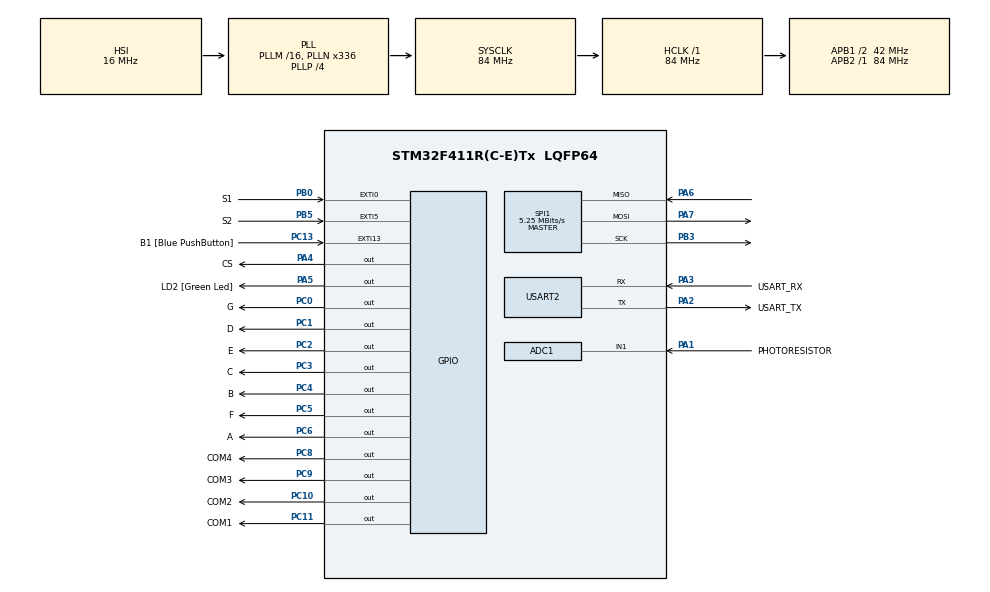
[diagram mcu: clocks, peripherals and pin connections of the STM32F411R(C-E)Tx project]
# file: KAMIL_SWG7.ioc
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ADC1.Channel-1\#ChannelRegularConversion=ADC_CHANNEL_1
ADC1.Channel-2\#ChannelRegularConversion=ADC_CHANNEL_TEMPSENSOR
ADC1.ClockPrescaler=ADC_CLOCK_SYNC_PCLK_DIV8
ADC1.ContinuousConvMode=DISABLE
ADC1.DMAContinuousRequests=ENABLE
ADC1.ExternalTrigConv=ADC_EXTERNALTRIGCONV_T2_TRGO
ADC1.NbrOfConversion=2
ADC1.NbrOfConversionFlag=1
ADC1.Rank-1\#ChannelRegularConversion=1
ADC1.Rank-2\#ChannelRegularConversion=2
ADC1.SamplingTime-1\#ChannelRegularConversion=ADC_SAMPLETIME_480CYCLES
ADC1.SamplingTime-2\#ChannelRegularConversion=ADC_SAMPLETIME_480CYCLES
ADC1.ScanConvMode=ENABLE
ADC1.master=1
Dma.ADC1.2.Direction=DMA_PERIPH_TO_MEMORY
Dma.ADC1.2.FIFOMode=DMA_FIFOMODE_DISABLE
Dma.ADC1.2.Instance=DMA2_Stream0
Dma.ADC1.2.MemDataAlignment=DMA_MDATAALIGN_HALFWORD
Dma.ADC1.2.MemInc=DMA_MINC_ENABLE
Dma.ADC1.2.Mode=DMA_CIRCULAR
Dma.ADC1.2.PeriphDataAlignment=DMA_PDATAALIGN_HALFWORD
Dma.ADC1.2.PeriphInc=DMA_PINC_DISABLE
Dma.ADC1.2.Priority=DMA_PRIORITY_LOW
Dma.Request0=USART2_TX
Dma.Request1=USART2_RX
Dma.Request2=ADC1
Dma.USART2_RX.1.Direction=DMA_PERIPH_TO_MEMORY
Dma.USART2_RX.1.FIFOMode=DMA_FIFOMODE_DISABLE
Dma.USART2_RX.1.Instance=DMA1_Stream5
Dma.USART2_RX.1.MemDataAlignment=DMA_MDATAALIGN_BYTE
Dma.USART2_RX.1.MemInc=DMA_MINC_ENABLE
Dma.USART2_RX.1.Mode=DMA_NORMAL
Dma.USART2_RX.1.PeriphDataAlignment=DMA_PDATAALIGN_BYTE
Dma.USART2_RX.1.PeriphInc=DMA_PINC_DISABLE
Dma.USART2_RX.1.Priority=DMA_PRIORITY_LOW
Dma.USART2_TX.0.Direction=DMA_MEMORY_TO_PERIPH
Dma.USART2_TX.0.FIFOMode=DMA_FIFOMODE_DISABLE
Dma.USART2_TX.0.Instance=DMA1_Stream6
Dma.USART2_TX.0.MemDataAlignment=DMA_MDATAALIGN_BYTE
Dma.USART2_TX.0.MemInc=DMA_MINC_ENABLE
Dma.USART2_TX.0.Mode=DMA_NORMAL
Dma.USART2_TX.0.PeriphDataAlignment=DMA_PDATAALIGN_BYTE
Dma.USART2_TX.0.PeriphInc=DMA_PINC_DISABLE
Dma.USART2_TX.0.Priority=DMA_PRIORITY_LOW
Mcu.Family=STM32F4
Mcu.Name=STM32F411R(C-E)Tx
Mcu.Package=LQFP64
NVIC.DMA1_Stream5_IRQn=true\:0\:0\:false\:false\:true\:false\:true\:true
NVIC.DMA1_Stream6_IRQn=true\:0\:0\:false\:false\:true\:false\:true\:true
NVIC.DMA2_Stream0_IRQn=true\:0\:0\:false\:false\:true\:false\:true\:true
NVIC.EXTI0_IRQn=true\:0\:0\:false\:false\:true\:true\:true\:true
NVIC.EXTI9_5_IRQn=true\:0\:0\:false\:false\:true\:true\:true\:true
NVIC.PriorityGroup=NVIC_PRIORITYGROUP_0
NVIC.TIM1_TRG_COM_TIM11_IRQn=true\:0\:0\:false\:false\:true\:true\:true\:true
NVIC.TIM1_UP_TIM10_IRQn=true\:0\:0\:false\:false\:true\:true\:true\:true
NVIC.USART2_IRQn=true\:0\:0\:false\:false\:true\:true\:true\:true
PA1.GPIO_Label=PHOTORESISTOR
PA1.Signal=ADCx_IN1
PA13.GPIO_Label=TMS
PA13.Mode=Serial_Wire
PA13.Signal=SYS_JTMS-SWDIO
PA14.GPIO_Label=TCK
PA14.Mode=Serial_Wire
PA14.Signal=SYS_JTCK-SWCLK
PA2.GPIO_Label=USART_TX
PA2.Mode=Asynchronous
PA2.Signal=USART2_TX
PA3.GPIO_Label=USART_RX
PA3.Mode=Asynchronous
PA3.Signal=USART2_RX
PA4.GPIO_Label=CS
PA4.Signal=GPIO_Output
PA5.GPIO_Label=LD2 [Green Led]
PA5.Signal=GPIO_Output
PA6.Mode=Full_Duplex_Master
PA6.Signal=SPI1_MISO
PA7.Mode=Full_Duplex_Master
PA7.Signal=SPI1_MOSI
PB0.GPIO_Label=S1
PB0.GPIO_ModeDefaultEXTI=GPIO_MODE_IT_FALLING
PB0.GPIO_PuPd=GPIO_PULLUP
PB0.Signal=GPXTI0
PB3.Mode=Full_Duplex_Master
PB3.Signal=SPI1_SCK
PB5.GPIO_Label=S2
PB5.GPIO_ModeDefaultEXTI=GPIO_MODE_IT_FALLING
PB5.GPIO_PuPd=GPIO_PULLUP
PB5.Signal=GPXTI5
PC0.GPIO_Label=G
PC0.Signal=GPIO_Output
PC1.GPIO_Label=D
PC1.Signal=GPIO_Output
PC10.GPIO_Label=COM2
PC10.Signal=GPIO_Output
PC11.GPIO_Label=COM1
PC11.Signal=GPIO_Output
PC13-ANTI_TAMP.GPIO_Label=B1 [Blue PushButton]
PC13-ANTI_TAMP.GPIO_ModeDefaultEXTI=GPIO_MODE_IT_FALLING
PC13-ANTI_TAMP.Signal=GPXTI13
PC14-OSC32_IN.Mode=LSE-External-Oscillator
PC14-OSC32_IN.Signal=RCC_OSC32_IN
PC15-OSC32_OUT.Mode=LSE-External-Oscillator
PC15-OSC32_OUT.Signal=RCC_OSC32_OUT
PC2.GPIO_Label=E
PC2.Signal=GPIO_Output
PC3.GPIO_Label=C
PC3.Signal=GPIO_Output
PC4.GPIO_Label=B
PC4.Signal=GPIO_Output
PC5.GPIO_Label=F
PC5.Signal=GPIO_Output
PC6.GPIO_Label=A
PC6.Signal=GPIO_Output
PC8.GPIO_Label=COM4
PC8.Signal=GPIO_Output
PC9.GPIO_Label=COM3
PC9.Signal=GPIO_Output
PH0\ -\ OSC_IN.Mode=HSE-External-Clock-Source
PH0\ -\ OSC_IN.Signal=RCC_OSC_IN
PH1\ -\ OSC_OUT.Mode=HSE-External-Clock-Source
PH1\ -\ OSC_OUT.Signal=RCC_OSC_OUT
ProjectManager.HeapSize=0x200
ProjectManager.StackSize=0x400
ProjectManager.TargetToolchain=STM32CubeIDE
RCC.48MHZClocksFreq_Value=84000000
RCC.AHBFreq_Value=84000000
RCC.APB1CLKDivider=RCC_HCLK_DIV2
RCC.APB1Freq_Value=42000000
RCC.APB1TimFreq_Value=84000000
RCC.APB2Freq_Value=84000000
RCC.APB2TimFreq_Value=84000000
RCC.CortexFreq_Value=84000000
RCC.FLatency-AdvancedSettings=FLASH_LATENCY_2
RCC.HCLKFreq_Value=84000000
RCC.HSE_VALUE=8000000
RCC.HSI_VALUE=16000000
RCC.PLLN=336
RCC.PLLP=RCC_PLLP_DIV4
RCC.SYSCLKFreq_VALUE=84000000
RCC.SYSCLKSource=RCC_SYSCLKSOURCE_PLLCLK
RCC.VCOOutputFreq_Value=336000000
SH.ADCx_IN1.0=ADC1_IN1,IN1
SPI1.BaudRatePrescaler=SPI_BAUDRATEPRESCALER_16
SPI1.CLKPhase=SPI_PHASE_2EDGE
SPI1.CLKPolarity=SPI_POLARITY_HIGH
SPI1.CalculateBaudRate=5.25 MBits/s
SPI1.Direction=SPI_DIRECTION_2LINES
SPI1.Mode=SPI_MODE_MASTER
SPI1.VirtualType=VM_MASTER
TIM10.Period=1000-1
TIM10.Prescaler=8400-1
TIM11.Period=999
TIM11.Prescaler=200
TIM2.Period=999
TIM2.Prescaler=8399
TIM2.TIM_MasterOutputTrigger=TIM_TRGO_UPDATE
USART2.VirtualMode=VM_ASYNC
VP_ADC1_TempSens_Input.Mode=IN-TempSens
VP_TIM10_VS_ClockSourceINT.Mode=Enable_Timer
VP_TIM11_VS_ClockSourceINT.Mode=Enable_Timer
VP_TIM2_VS_ClockSourceINT.Mode=Internal
board=NUCLEO-F411RE

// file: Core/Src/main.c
/* USER CODE BEGIN Header */
/**
  ******************************************************************************
  * @file           : main.c
  * @brief          : Main program body
  ******************************************************************************
  * @attention
  *
  * Copyright (c) 2023 STMicroelectronics.
  * All rights reserved.
  *
  * This software is licensed under terms that can be found in the LICENSE file
  * in the root directory of this software component.
  * If no LICENSE file comes with this software, it is provided AS-IS.
  *
  ******************************************************************************
  */
/* USER CODE END Header */
#include "main.h"

ADC_HandleTypeDef hadc1;
DMA_HandleTypeDef hdma_adc1;

SPI_HandleTypeDef hspi1;

TIM_HandleTypeDef htim2;
TIM_HandleTypeDef htim10;
TIM_HandleTypeDef htim11;

UART_HandleTypeDef huart2;
DMA_HandleTypeDef hdma_usart2_tx;
DMA_HandleTypeDef hdma_usart2_rx;

/* USER CODE BEGIN PV */
volatile uint8_t NrDisp;
volatile uint16_t Number = 0;
volatile uint8_t unit_number;
volatile uint8_t decimal_number;
volatile uint8_t hundreds_number;
volatile uint8_t thousandths_number;
volatile uint32_t t1_S1 = 0;
volatile uint32_t t2_S1 = 0;
volatile uint32_t t1_S2 = 0;
volatile uint32_t t2_S2 = 0;
const uint32_t delay = 200;
volatile uint16_t TX_size;
volatile uint8_t buffor_tx[100];
volatile uint8_t buffor_rx[10];
volatile uint8_t flag_start = 0;
volatile uint16_t ADC_value[2];
volatile uint8_t flag_end_adc = 1;
volatile uint8_t flag_end_transmit = 1;

//-----zmiennne do obłsługi akcelerometru SPI:-------//
volatile uint8_t SPI_Rxbuff[2];
volatile uint8_t SPI_Txbuff[2];
const uint8_t address_X = 0x29;
const uint8_t address_Y = 0x2B;
const uint8_t address_Z = 0x2D;
volatile uint8_t mask = 0x80;
volatile uint8_t X_value;
volatile uint8_t Y_value;
volatile uint8_t Z_value;
//---------------------------------------------------//

/* USER CODE END PV */

void SystemClock_Config(void);
static void MX_GPIO_Init(void);
static void MX_DMA_Init(void);
static void MX_USART2_UART_Init(void);
static void MX_TIM11_Init(void);
static void MX_ADC1_Init(void);
static void MX_TIM10_Init(void);
static void MX_TIM2_Init(void);
static void MX_SPI1_Init(void);
/* USER CODE BEGIN PFP */
void HAL_ADC_ConvCpltCallback(ADC_HandleTypeDef* hadc);
void HAL_GPIO_EXTI_Callback(uint16_t GPIO_Pin);
void HAL_TIM_PeriodElapsedCallback(TIM_HandleTypeDef *htim);
void count_number();
void SetDisp(uint8_t number);
void DispSeg7(uint8_t mask);
void SetSeg7(uint8_t number);
void Akcelerometr_SPI();
void Akcelerometr_SPI_init();

/* USER CODE END PFP */

/* USER CODE BEGIN 0 */

// Funkcja inicjująca akcelerometr z wykorzystanime tranmisji interfejsem SPI
void Akcelerometr_SPI_init(){
	SPI_Txbuff[0] = 0x20;
	SPI_Txbuff[1] = 0x47;

	HAL_GPIO_WritePin(CS_GPIO_Port, CS_Pin, GPIO_PIN_RESET);
	HAL_SPI_Transmit(&hspi1, SPI_Txbuff, 2, 100);
	HAL_GPIO_WritePin(CS_GPIO_Port, CS_Pin, GPIO_PIN_SET);

}

void Akcelerometr_SPI(){
	// Obsługa SPI - odczyt

	  // OS-X
	  SPI_Rxbuff[0] = address_X | mask;
	  HAL_GPIO_WritePin(CS_GPIO_Port, CS_Pin, GPIO_PIN_RESET);
	  HAL_SPI_Receive(&hspi1, SPI_Rxbuff, 2, 1000);
	  HAL_GPIO_WritePin(CS_GPIO_Port, CS_Pin, GPIO_PIN_SET);
	  X_value = SPI_Rxbuff[1];

	  // OS-Y
	  SPI_Rxbuff[0] = address_Y | mask;
	  HAL_GPIO_WritePin(CS_GPIO_Port, CS_Pin, GPIO_PIN_RESET);
	  HAL_SPI_Receive(&hspi1, SPI_Rxbuff, 2, 1000);
	  HAL_GPIO_WritePin(CS_GPIO_Port, CS_Pin, GPIO_PIN_SET);
	  Y_value = SPI_Rxbuff[1];

	  // OS-Z
	  SPI_Rxbuff[0] = address_Z | mask;
	  HAL_GPIO_WritePin(CS_GPIO_Port, CS_Pin, GPIO_PIN_RESET);
	  HAL_SPI_Receive(&hspi1, SPI_Rxbuff, 2, 1000);
	  HAL_GPIO_WritePin(CS_GPIO_Port, CS_Pin, GPIO_PIN_SET);
	  Z_value = SPI_Rxbuff[1];

	  if(flag_end_transmit){
		  size_t len = sprintf(buffor_tx,"X = %d, Y = %d, Z = %d\n", X_value, Y_value, Z_value);
		  HAL_UART_Transmit_DMA(&huart2, buffor_tx, len);
	  }
}

// Funkcja odpowiedzialna za ustawienie flagi inforującej o zakończniu transmisji na porcie szeregowym
void HAL_UART_TxCpltCallback(UART_HandleTypeDef *huart){

	if (huart->Instance == USART2){
		flag_end_transmit = 1;

	}
}

// Funkcja odpowiedzialna za przerwania zewnętrzne
void HAL_GPIO_EXTI_Callback(uint16_t GPIO_Pin){

	if(GPIO_Pin == S1_Pin){
		t2_S1 = HAL_GetTick();
		if(t2_S1 - t1_S1 > delay){
			t1_S1 = t2_S1;
			if(Number == 0){
					Number = 9999;
			}else{
				Number --;
			}
			count_number();
		}

	}else if(GPIO_Pin == S2_Pin){
		t2_S2 = HAL_GetTick();
		if(t2_S2 - t1_S2 > delay){
			t1_S2 = t2_S2;
			Number ++;
			count_number();

		}

	}

}

// funkcja odpowiedzilana z obsługę przerwań związanych z timerem TIM11 oraz TIM10, który to wywołuje odczyt z akcelerometru
void HAL_TIM_PeriodElapsedCallback(TIM_HandleTypeDef *htim){
	if(htim->Instance == TIM11){
		// Switch umożliwający cykliczną zamianę jednego z 4 wyświetlaczy 7-seg
		switch(NrDisp){
		case 0:
			SetDisp(0);
			SetSeg7(thousandths_number);
			NrDisp = 1;
			break;
		case 1:
			SetDisp(1);
			SetSeg7(hundreds_number);
			NrDisp = 2;
			break;
		case 2:
			SetDisp(2);
			SetSeg7(decimal_number);
			NrDisp = 3;
			break;
		case 3:
			SetDisp(3);
			SetSeg7(unit_number);
			NrDisp = 0;
			break;
		}
	}else if(htim->Instance == TIM10){
		Akcelerometr_SPI();
	}

}

// Funkcja umożliwiająca zlicznie, oraz dekodowanie wartości Number
void count_number(){
	if(Number > 9999){
		Number = 0;
	}
	thousandths_number = Number/1000;
	hundreds_number = (Number%1000)/100;
	decimal_number = (Number%1000%100)/10;
	unit_number = (Number%1000%100%10);

}

// Funkcja umożliwiająca ustawienie odpowiedniego COM-a do wyświetlacza
// w celu wyboru jednego z 4 wyświetlaczy 7-seg
void SetDisp(uint8_t number){

	HAL_GPIO_WritePin(COM1_GPIO_Port, COM1_Pin, GPIO_PIN_SET);
	HAL_GPIO_WritePin(COM2_GPIO_Port, COM2_Pin, GPIO_PIN_SET);
	HAL_GPIO_WritePin(COM3_GPIO_Port, COM3_Pin, GPIO_PIN_SET);
	HAL_GPIO_WritePin(COM4_GPIO_Port, COM4_Pin, GPIO_PIN_SET);
	switch(number){
		case 0:
			HAL_GPIO_WritePin(COM1_GPIO_Port, COM1_Pin, GPIO_PIN_RESET);
			break;
		case 1:
			HAL_GPIO_WritePin(COM2_GPIO_Port, COM2_Pin, GPIO_PIN_RESET);
			break;
		case 2:
			HAL_GPIO_WritePin(COM3_GPIO_Port, COM3_Pin, GPIO_PIN_RESET);
			break;
		case 3:
			HAL_GPIO_WritePin(COM4_GPIO_Port, COM4_Pin, GPIO_PIN_RESET);
			break;

	}
}

// Funkcja ustawiająca odpowiedni stan na wyjściu zgodnie z maską podaną z funkcji SetSeg7
void DispSeg7(uint8_t mask){
	HAL_GPIO_WritePin(A_GPIO_Port, A_Pin, mask & 0x01);
	HAL_GPIO_WritePin(B_GPIO_Port, B_Pin, mask & 0x02);
	HAL_GPIO_WritePin(C_GPIO_Port, C_Pin, mask & 0x04);
	HAL_GPIO_WritePin(D_GPIO_Port, D_Pin, mask & 0x08);
	HAL_GPIO_WritePin(E_GPIO_Port, E_Pin, mask & 0x10);
	HAL_GPIO_WritePin(F_GPIO_Port, F_Pin, mask & 0x20);
	HAL_GPIO_WritePin(G_GPIO_Port, G_Pin, mask & 0x40);

}

// Funkcja deklarująca wyświedlanie odpowiednich segmentów dla poszczególnych liczb
void SetSeg7(uint8_t number){
	switch(number){
	case 0:
		DispSeg7(0b0111111);
		break;
	case 1:
		DispSeg7(0b0000110);
		break;
	case 2:
		DispSeg7(0b1011011);
		break;
	case 3:
		DispSeg7(0b1001111);
		break;
	case 4:
		DispSeg7(0b1100110);
		break;
	case 5:
		DispSeg7(0b1101101);
		break;
	case 6:
		DispSeg7(0b1111101);
		break;
	case 7:
		DispSeg7(0b0000111);
		break;
	case 8:
		DispSeg7(0b1111111);
		break;
	case 9:
		DispSeg7(0b1101111);
		break;
	default:
		DispSeg7(0b1111001);
		break;
	}
}

/* USER CODE END 0 */

int main(void)
{

  /* MCU Configuration--------------------------------------------------------*/

  /* Reset of all peripherals, Initializes the Flash interface and the Systick. */
  HAL_Init();

  /* Configure the system clock */
  SystemClock_Config();

  /* Initialize all configured peripherals */
  MX_GPIO_Init();
  MX_DMA_Init();
  MX_USART2_UART_Init();
  MX_TIM11_Init();
  MX_ADC1_Init();
  MX_TIM10_Init();
  MX_TIM2_Init();
  MX_SPI1_Init();
  /* USER CODE BEGIN 2 */
  HAL_TIM_Base_Start_IT(&htim11);

  HAL_TIM_Base_Start(&htim2);
  HAL_TIM_Base_Start_IT(&htim10);
  HAL_ADC_Start_DMA(&hadc1, ADC_value, 2);

  Akcelerometr_SPI_init();

  /* USER CODE END 2 */

  /* Infinite loop */
  /* USER CODE BEGIN WHILE */

  HAL_UART_Receive_DMA(&huart2,buffor_rx, 2);

  while (1)
  {

	  }

    /* USER CODE END WHILE */

  }

void SystemClock_Config(void)
{
  RCC_OscInitTypeDef RCC_OscInitStruct = {0};
  RCC_ClkInitTypeDef RCC_ClkInitStruct = {0};

  /** Configure the main internal regulator output voltage
  */
  __HAL_RCC_PWR_CLK_ENABLE();
  __HAL_PWR_VOLTAGESCALING_CONFIG(PWR_REGULATOR_VOLTAGE_SCALE1);

  /** Initializes the RCC Oscillators according to the specified parameters
  * in the RCC_OscInitTypeDef structure.
  */
  RCC_OscInitStruct.OscillatorType = RCC_OSCILLATORTYPE_HSI;
  RCC_OscInitStruct.HSIState = RCC_HSI_ON;
  RCC_OscInitStruct.HSICalibrationValue = RCC_HSICALIBRATION_DEFAULT;
  RCC_OscInitStruct.PLL.PLLState = RCC_PLL_ON;
  RCC_OscInitStruct.PLL.PLLSource = RCC_PLLSOURCE_HSI;
  RCC_OscInitStruct.PLL.PLLM = 16;
  RCC_OscInitStruct.PLL.PLLN = 336;
  RCC_OscInitStruct.PLL.PLLP = RCC_PLLP_DIV4;
  RCC_OscInitStruct.PLL.PLLQ = 4;
  if (HAL_RCC_OscConfig(&RCC_OscInitStruct) != HAL_OK)
  {
    Error_Handler();
  }

  /** Initializes the CPU, AHB and APB buses clocks
  */
  RCC_ClkInitStruct.ClockType = RCC_CLOCKTYPE_HCLK|RCC_CLOCKTYPE_SYSCLK
                              |RCC_CLOCKTYPE_PCLK1|RCC_CLOCKTYPE_PCLK2;
  RCC_ClkInitStruct.SYSCLKSource = RCC_SYSCLKSOURCE_PLLCLK;
  RCC_ClkInitStruct.AHBCLKDivider = RCC_SYSCLK_DIV1;
  RCC_ClkInitStruct.APB1CLKDivider = RCC_HCLK_DIV2;
  RCC_ClkInitStruct.APB2CLKDivider = RCC_HCLK_DIV1;

  if (HAL_RCC_ClockConfig(&RCC_ClkInitStruct, FLASH_LATENCY_2) != HAL_OK)
  {
    Error_Handler();
  }
}

static void MX_ADC1_Init(void)
{

  ADC_ChannelConfTypeDef sConfig = {0};

  /** Configure the global features of the ADC (Clock, Resolution, Data Alignment and number of conversion)
  */
  hadc1.Instance = ADC1;
  hadc1.Init.ClockPrescaler = ADC_CLOCK_SYNC_PCLK_DIV8;
  hadc1.Init.Resolution = ADC_RESOLUTION_12B;
  hadc1.Init.ScanConvMode = ENABLE;
  hadc1.Init.ContinuousConvMode = DISABLE;
  hadc1.Init.DiscontinuousConvMode = DISABLE;
  hadc1.Init.ExternalTrigConvEdge = ADC_EXTERNALTRIGCONVEDGE_RISING;
  hadc1.Init.ExternalTrigConv = ADC_EXTERNALTRIGCONV_T2_TRGO;
  hadc1.Init.DataAlign = ADC_DATAALIGN_RIGHT;
  hadc1.Init.NbrOfConversion = 2;
  hadc1.Init.DMAContinuousRequests = ENABLE;
  hadc1.Init.EOCSelection = ADC_EOC_SINGLE_CONV;
  if (HAL_ADC_Init(&hadc1) != HAL_OK)
  {
    Error_Handler();
  }

  /** Configure for the selected ADC regular channel its corresponding rank in the sequencer and its sample time.
  */
  sConfig.Channel = ADC_CHANNEL_1;
  sConfig.Rank = 1;
  sConfig.SamplingTime = ADC_SAMPLETIME_480CYCLES;
  if (HAL_ADC_ConfigChannel(&hadc1, &sConfig) != HAL_OK)
  {
    Error_Handler();
  }

  /** Configure for the selected ADC regular channel its corresponding rank in the sequencer and its sample time.
  */
  sConfig.Channel = ADC_CHANNEL_TEMPSENSOR;
  sConfig.Rank = 2;
  if (HAL_ADC_ConfigChannel(&hadc1, &sConfig) != HAL_OK)
  {
    Error_Handler();
  }

}

static void MX_SPI1_Init(void)
{

  /* SPI1 parameter configuration*/
  hspi1.Instance = SPI1;
  hspi1.Init.Mode = SPI_MODE_MASTER;
  hspi1.Init.Direction = SPI_DIRECTION_2LINES;
  hspi1.Init.DataSize = SPI_DATASIZE_8BIT;
  hspi1.Init.CLKPolarity = SPI_POLARITY_HIGH;
  hspi1.Init.CLKPhase = SPI_PHASE_2EDGE;
  hspi1.Init.NSS = SPI_NSS_SOFT;
  hspi1.Init.BaudRatePrescaler = SPI_BAUDRATEPRESCALER_16;
  hspi1.Init.FirstBit = SPI_FIRSTBIT_MSB;
  hspi1.Init.TIMode = SPI_TIMODE_DISABLE;
  hspi1.Init.CRCCalculation = SPI_CRCCALCULATION_DISABLE;
  hspi1.Init.CRCPolynomial = 10;
  if (HAL_SPI_Init(&hspi1) != HAL_OK)
  {
    Error_Handler();
  }

}

static void MX_TIM2_Init(void)
{

  TIM_ClockConfigTypeDef sClockSourceConfig = {0};
  TIM_MasterConfigTypeDef sMasterConfig = {0};

  htim2.Instance = TIM2;
  htim2.Init.Prescaler = 8399;
  htim2.Init.CounterMode = TIM_COUNTERMODE_UP;
  htim2.Init.Period = 999;
  htim2.Init.ClockDivision = TIM_CLOCKDIVISION_DIV1;
  htim2.Init.AutoReloadPreload = TIM_AUTORELOAD_PRELOAD_DISABLE;
  if (HAL_TIM_Base_Init(&htim2) != HAL_OK)
  {
    Error_Handler();
  }
  sClockSourceConfig.ClockSource = TIM_CLOCKSOURCE_INTERNAL;
  if (HAL_TIM_ConfigClockSource(&htim2, &sClockSourceConfig) != HAL_OK)
  {
    Error_Handler();
  }
  sMasterConfig.MasterOutputTrigger = TIM_TRGO_UPDATE;
  sMasterConfig.MasterSlaveMode = TIM_MASTERSLAVEMODE_DISABLE;
  if (HAL_TIMEx_MasterConfigSynchronization(&htim2, &sMasterConfig) != HAL_OK)
  {
    Error_Handler();
  }

}

static void MX_TIM10_Init(void)
{

  htim10.Instance = TIM10;
  htim10.Init.Prescaler = 8400-1;
  htim10.Init.CounterMode = TIM_COUNTERMODE_UP;
  htim10.Init.Period = 1000-1;
  htim10.Init.ClockDivision = TIM_CLOCKDIVISION_DIV1;
  htim10.Init.AutoReloadPreload = TIM_AUTORELOAD_PRELOAD_DISABLE;
  if (HAL_TIM_Base_Init(&htim10) != HAL_OK)
  {
    Error_Handler();
  }

}

static void MX_TIM11_Init(void)
{

  htim11.Instance = TIM11;
  htim11.Init.Prescaler = 200;
  htim11.Init.CounterMode = TIM_COUNTERMODE_UP;
  htim11.Init.Period = 999;
  htim11.Init.ClockDivision = TIM_CLOCKDIVISION_DIV1;
  htim11.Init.AutoReloadPreload = TIM_AUTORELOAD_PRELOAD_DISABLE;
  if (HAL_TIM_Base_Init(&htim11) != HAL_OK)
  {
    Error_Handler();
  }

}

static void MX_USART2_UART_Init(void)
{

  huart2.Instance = USART2;
  huart2.Init.BaudRate = 115200;
  huart2.Init.WordLength = UART_WORDLENGTH_8B;
  huart2.Init.StopBits = UART_STOPBITS_1;
  huart2.Init.Parity = UART_PARITY_NONE;
  huart2.Init.Mode = UART_MODE_TX_RX;
  huart2.Init.HwFlowCtl = UART_HWCONTROL_NONE;
  huart2.Init.OverSampling = UART_OVERSAMPLING_16;
  if (HAL_UART_Init(&huart2) != HAL_OK)
  {
    Error_Handler();
  }

}

static void MX_DMA_Init(void)
{

  /* DMA controller clock enable */
  __HAL_RCC_DMA1_CLK_ENABLE();
  __HAL_RCC_DMA2_CLK_ENABLE();

  /* DMA interrupt init */
  /* DMA1_Stream5_IRQn interrupt configuration */
  HAL_NVIC_SetPriority(DMA1_Stream5_IRQn, 0, 0);
  HAL_NVIC_EnableIRQ(DMA1_Stream5_IRQn);
  /* DMA1_Stream6_IRQn interrupt configuration */
  HAL_NVIC_SetPriority(DMA1_Stream6_IRQn, 0, 0);
  HAL_NVIC_EnableIRQ(DMA1_Stream6_IRQn);
  /* DMA2_Stream0_IRQn interrupt configuration */
  HAL_NVIC_SetPriority(DMA2_Stream0_IRQn, 0, 0);
  HAL_NVIC_EnableIRQ(DMA2_Stream0_IRQn);

}

static void MX_GPIO_Init(void)
{
  GPIO_InitTypeDef GPIO_InitStruct = {0};

  /* GPIO Ports Clock Enable */
  __HAL_RCC_GPIOC_CLK_ENABLE();
  __HAL_RCC_GPIOH_CLK_ENABLE();
  __HAL_RCC_GPIOA_CLK_ENABLE();
  __HAL_RCC_GPIOB_CLK_ENABLE();

  /*Configure GPIO pin Output Level */
  HAL_GPIO_WritePin(GPIOC, G_Pin|D_Pin|E_Pin|C_Pin
                          |B_Pin|F_Pin|A_Pin|COM4_Pin
                          |COM3_Pin|COM2_Pin|COM1_Pin, GPIO_PIN_RESET);

  /*Configure GPIO pin Output Level */
  HAL_GPIO_WritePin(GPIOA, CS_Pin|LD2_Pin, GPIO_PIN_RESET);

  /*Configure GPIO pin : B1_Pin */
  GPIO_InitStruct.Pin = B1_Pin;
  GPIO_InitStruct.Mode = GPIO_MODE_IT_FALLING;
  GPIO_InitStruct.Pull = GPIO_NOPULL;
  HAL_GPIO_Init(B1_GPIO_Port, &GPIO_InitStruct);

  /*Configure GPIO pins : G_Pin D_Pin E_Pin C_Pin
                           B_Pin F_Pin A_Pin COM4_Pin
                           COM3_Pin COM2_Pin COM1_Pin */
  GPIO_InitStruct.Pin = G_Pin|D_Pin|E_Pin|C_Pin
                          |B_Pin|F_Pin|A_Pin|COM4_Pin
                          |COM3_Pin|COM2_Pin|COM1_Pin;
  GPIO_InitStruct.Mode = GPIO_MODE_OUTPUT_PP;
  GPIO_InitStruct.Pull = GPIO_NOPULL;
  GPIO_InitStruct.Speed = GPIO_SPEED_FREQ_LOW;
  HAL_GPIO_Init(GPIOC, &GPIO_InitStruct);

  /*Configure GPIO pins : CS_Pin LD2_Pin */
  GPIO_InitStruct.Pin = CS_Pin|LD2_Pin;
  GPIO_InitStruct.Mode = GPIO_MODE_OUTPUT_PP;
  GPIO_InitStruct.Pull = GPIO_NOPULL;
  GPIO_InitStruct.Speed = GPIO_SPEED_FREQ_LOW;
  HAL_GPIO_Init(GPIOA, &GPIO_InitStruct);

  /*Configure GPIO pins : S1_Pin S2_Pin */
  GPIO_InitStruct.Pin = S1_Pin|S2_Pin;
  GPIO_InitStruct.Mode = GPIO_MODE_IT_FALLING;
  GPIO_InitStruct.Pull = GPIO_PULLUP;
  HAL_GPIO_Init(GPIOB, &GPIO_InitStruct);

  /* EXTI interrupt init*/
  HAL_NVIC_SetPriority(EXTI0_IRQn, 0, 0);
  HAL_NVIC_EnableIRQ(EXTI0_IRQn);

  HAL_NVIC_SetPriority(EXTI9_5_IRQn, 0, 0);
  HAL_NVIC_EnableIRQ(EXTI9_5_IRQn);

}

void Error_Handler(void)
{
  __disable_irq();
  while (1)
  {
  }
}
